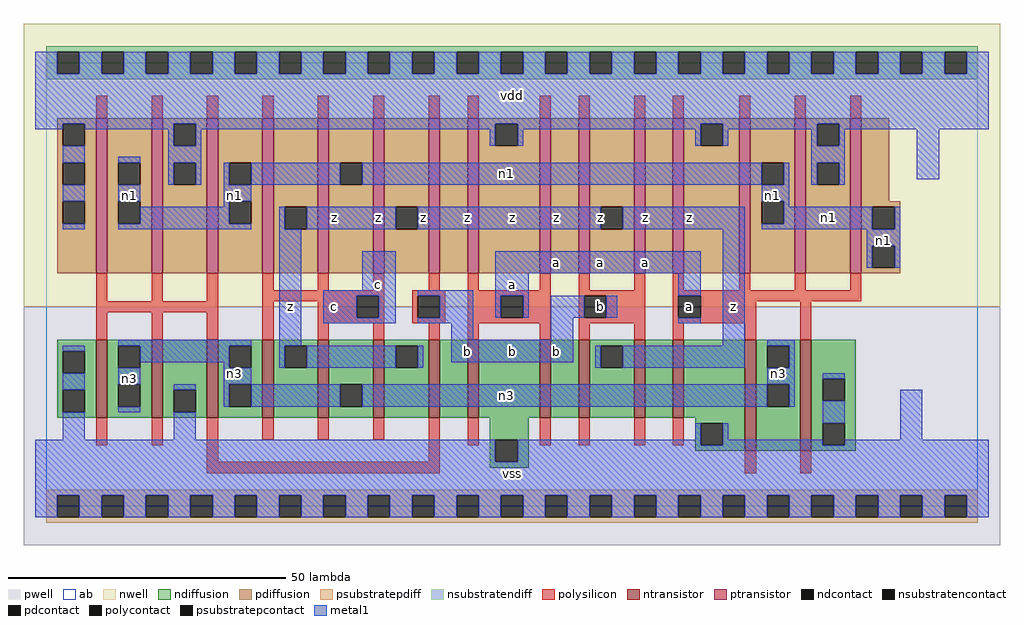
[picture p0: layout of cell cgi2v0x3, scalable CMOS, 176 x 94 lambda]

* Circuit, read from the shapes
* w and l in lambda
.subckt cgi2v0x3 a b c n1 n3 vdd vss z
M1 n3 b vss vss nfet w=14 l=2 m=3
M2 z c n3 vss nfet w=14 l=2 m=3
M3 n2 b z vss nfet w=14 l=2
M4 vss a n2 vss nfet w=14 l=2
M5 n4 a vss vss nfet w=14 l=2
M6 z b n4 vss nfet w=14 l=2
M7 n5 b z vss nfet w=14 l=2
M8 vss a n5 vss nfet w=14 l=2
M9 n3 a vss vss nfet w=20 l=2 m=2
M10 n1 b vdd vdd pfet w=28 l=2 m=3
M11 z c n1 vdd pfet w=28 l=2 m=3
M12 n6 b z vdd pfet w=28 l=2
M13 vdd a n6 vdd pfet w=28 l=2
M14 n7 a vdd vdd pfet w=28 l=2
M15 z b n7 vdd pfet w=28 l=2
M16 n8 b z vdd pfet w=28 l=2
M17 vdd a n8 vdd pfet w=28 l=2
M18 n1 a vdd vdd pfet w=28 l=2 m=3
.ends

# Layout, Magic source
magic
tech scmos
<< ab >>
rect 0 0 168 80
<< pwell >>
rect -4 -7 172 36
<< nwell >>
rect -4 36 172 87
<< polysilicon >>
rect 9 70 11 74
rect 19 70 21 74
rect 29 70 31 74
rect 39 70 41 74
rect 49 70 51 74
rect 59 70 61 74
rect 69 70 71 74
rect 76 70 78 74
rect 89 70 91 74
rect 96 70 98 74
rect 106 70 108 74
rect 113 70 115 74
rect 125 70 127 74
rect 135 70 137 74
rect 145 70 147 74
rect 9 37 11 42
rect 19 37 21 42
rect 29 37 31 42
rect 9 35 31 37
rect 9 30 11 35
rect 19 30 21 35
rect 29 30 31 35
rect 39 39 41 42
rect 49 39 51 42
rect 59 39 61 42
rect 69 39 71 42
rect 76 39 78 42
rect 89 39 91 42
rect 39 38 61 39
rect 39 37 56 38
rect 39 30 41 37
rect 49 34 56 37
rect 60 34 61 38
rect 49 33 61 34
rect 66 38 72 39
rect 66 34 67 38
rect 71 34 72 38
rect 66 33 72 34
rect 76 38 91 39
rect 76 34 82 38
rect 86 34 91 38
rect 76 33 91 34
rect 49 30 51 33
rect 59 30 61 33
rect 69 30 71 33
rect 76 30 78 33
rect 89 30 91 33
rect 96 39 98 42
rect 106 39 108 42
rect 96 38 108 39
rect 96 34 97 38
rect 101 34 108 38
rect 96 33 108 34
rect 96 30 98 33
rect 106 30 108 33
rect 113 39 115 42
rect 125 39 127 42
rect 135 39 137 42
rect 145 39 147 42
rect 113 38 147 39
rect 113 34 114 38
rect 118 37 147 38
rect 118 34 128 37
rect 113 33 128 34
rect 113 30 115 33
rect 126 30 128 33
rect 136 30 138 37
rect 9 11 11 16
rect 19 11 21 16
rect 29 8 31 16
rect 39 12 41 16
rect 49 12 51 16
rect 59 12 61 16
rect 69 8 71 16
rect 76 11 78 16
rect 29 6 71 8
rect 89 11 91 16
rect 96 11 98 16
rect 106 11 108 16
rect 113 11 115 16
rect 126 6 128 10
rect 136 6 138 10
<< ndiffusion >>
rect 2 28 9 30
rect 2 24 3 28
rect 7 24 9 28
rect 2 21 9 24
rect 2 17 3 21
rect 7 17 9 21
rect 2 16 9 17
rect 11 29 19 30
rect 11 25 13 29
rect 17 25 19 29
rect 11 22 19 25
rect 11 18 13 22
rect 17 18 19 22
rect 11 16 19 18
rect 21 21 29 30
rect 21 17 23 21
rect 27 17 29 21
rect 21 16 29 17
rect 31 29 39 30
rect 31 25 33 29
rect 37 25 39 29
rect 31 22 39 25
rect 31 18 33 22
rect 37 18 39 22
rect 31 16 39 18
rect 41 29 49 30
rect 41 25 43 29
rect 47 25 49 29
rect 41 16 49 25
rect 51 22 59 30
rect 51 18 53 22
rect 57 18 59 22
rect 51 16 59 18
rect 61 29 69 30
rect 61 25 63 29
rect 67 25 69 29
rect 61 16 69 25
rect 71 16 76 30
rect 78 16 89 30
rect 91 16 96 30
rect 98 29 106 30
rect 98 25 100 29
rect 104 25 106 29
rect 98 16 106 25
rect 108 16 113 30
rect 115 16 126 30
rect 80 12 87 16
rect 80 8 81 12
rect 85 8 87 12
rect 117 15 126 16
rect 117 11 118 15
rect 122 11 126 15
rect 117 10 126 11
rect 128 29 136 30
rect 128 25 130 29
rect 134 25 136 29
rect 128 22 136 25
rect 128 18 130 22
rect 134 18 136 22
rect 128 10 136 18
rect 138 23 146 30
rect 138 19 140 23
rect 144 19 146 23
rect 138 15 146 19
rect 138 11 140 15
rect 144 11 146 15
rect 138 10 146 11
rect 80 7 87 8
<< pdiffusion >>
rect 2 69 9 70
rect 2 65 3 69
rect 7 65 9 69
rect 2 62 9 65
rect 2 58 3 62
rect 7 58 9 62
rect 2 55 9 58
rect 2 51 3 55
rect 7 51 9 55
rect 2 42 9 51
rect 11 62 19 70
rect 11 58 13 62
rect 17 58 19 62
rect 11 55 19 58
rect 11 51 13 55
rect 17 51 19 55
rect 11 42 19 51
rect 21 69 29 70
rect 21 65 23 69
rect 27 65 29 69
rect 21 62 29 65
rect 21 58 23 62
rect 27 58 29 62
rect 21 42 29 58
rect 31 62 39 70
rect 31 58 33 62
rect 37 58 39 62
rect 31 55 39 58
rect 31 51 33 55
rect 37 51 39 55
rect 31 42 39 51
rect 41 54 49 70
rect 41 50 43 54
rect 47 50 49 54
rect 41 42 49 50
rect 51 62 59 70
rect 51 58 53 62
rect 57 58 59 62
rect 51 42 59 58
rect 61 54 69 70
rect 61 50 63 54
rect 67 50 69 54
rect 61 42 69 50
rect 71 42 76 70
rect 78 69 89 70
rect 78 65 81 69
rect 85 65 89 69
rect 78 42 89 65
rect 91 42 96 70
rect 98 54 106 70
rect 98 50 100 54
rect 104 50 106 54
rect 98 42 106 50
rect 108 42 113 70
rect 115 69 125 70
rect 115 65 118 69
rect 122 65 125 69
rect 115 42 125 65
rect 127 62 135 70
rect 127 58 129 62
rect 133 58 135 62
rect 127 55 135 58
rect 127 51 129 55
rect 133 51 135 55
rect 127 42 135 51
rect 137 69 145 70
rect 137 65 139 69
rect 143 65 145 69
rect 137 62 145 65
rect 137 58 139 62
rect 143 58 145 62
rect 137 42 145 58
rect 147 55 152 70
rect 147 54 154 55
rect 147 50 149 54
rect 153 50 154 54
rect 147 47 154 50
rect 147 43 149 47
rect 153 43 154 47
rect 147 42 154 43
<< metal1 >>
rect -2 78 2 82
rect 6 78 10 82
rect 14 78 18 82
rect 22 78 26 82
rect 30 78 34 82
rect 38 78 42 82
rect 46 78 50 82
rect 54 78 58 82
rect 62 78 66 82
rect 70 78 74 82
rect 78 78 82 82
rect 86 78 90 82
rect 94 78 98 82
rect 102 78 106 82
rect 110 78 114 82
rect 118 78 122 82
rect 126 78 130 82
rect 134 78 138 82
rect 142 78 146 82
rect 150 78 154 82
rect 158 78 162 82
rect 166 78 170 82
rect -2 69 170 78
rect -2 68 3 69
rect 7 68 23 69
rect 3 62 7 65
rect 22 65 23 68
rect 27 68 81 69
rect 27 65 28 68
rect 80 65 81 68
rect 85 68 118 69
rect 85 65 86 68
rect 117 65 118 68
rect 122 68 139 69
rect 122 65 123 68
rect 138 65 139 68
rect 143 68 170 69
rect 143 65 144 68
rect 3 55 7 58
rect 3 50 7 51
rect 13 62 17 63
rect 22 62 28 65
rect 138 62 144 65
rect 22 58 23 62
rect 27 58 28 62
rect 32 58 33 62
rect 37 58 53 62
rect 57 58 129 62
rect 133 58 134 62
rect 138 58 139 62
rect 143 58 144 62
rect 157 59 161 68
rect 13 55 17 58
rect 32 55 37 58
rect 32 54 33 55
rect 17 51 33 54
rect 129 55 134 58
rect 13 50 37 51
rect 42 50 43 54
rect 47 50 63 54
rect 67 50 100 54
rect 104 50 126 54
rect 133 54 134 55
rect 133 51 149 54
rect 129 50 149 51
rect 153 50 154 54
rect 13 29 37 30
rect 3 28 7 29
rect 3 21 7 24
rect 17 26 33 29
rect 13 22 17 25
rect 32 25 33 26
rect 42 29 46 50
rect 57 39 63 46
rect 81 42 118 46
rect 50 38 63 39
rect 50 34 56 38
rect 60 34 63 38
rect 50 33 63 34
rect 67 38 77 39
rect 71 34 77 38
rect 81 38 87 42
rect 114 38 118 42
rect 81 34 82 38
rect 86 34 87 38
rect 91 34 97 38
rect 101 34 103 38
rect 67 33 77 34
rect 73 30 77 33
rect 91 30 95 34
rect 114 33 118 34
rect 42 25 43 29
rect 47 25 63 29
rect 67 25 68 29
rect 73 26 95 30
rect 122 29 126 50
rect 148 47 154 50
rect 148 43 149 47
rect 153 43 154 47
rect 99 25 100 29
rect 104 25 126 29
rect 130 29 135 30
rect 134 25 135 29
rect 32 22 37 25
rect 130 22 135 25
rect 13 17 17 18
rect 23 21 27 22
rect 32 18 33 22
rect 37 18 53 22
rect 57 18 130 22
rect 134 18 135 22
rect 140 23 144 24
rect 3 12 7 17
rect 23 12 27 17
rect 140 15 144 19
rect 117 12 118 15
rect -2 8 81 12
rect 85 11 118 12
rect 122 12 123 15
rect 122 11 140 12
rect 154 12 158 21
rect 144 11 170 12
rect 85 8 170 11
rect -2 2 170 8
rect -2 -2 2 2
rect 6 -2 10 2
rect 14 -2 18 2
rect 22 -2 26 2
rect 30 -2 34 2
rect 38 -2 42 2
rect 46 -2 50 2
rect 54 -2 58 2
rect 62 -2 66 2
rect 70 -2 74 2
rect 78 -2 82 2
rect 86 -2 90 2
rect 94 -2 98 2
rect 102 -2 106 2
rect 110 -2 114 2
rect 118 -2 122 2
rect 126 -2 130 2
rect 134 -2 138 2
rect 142 -2 146 2
rect 150 -2 154 2
rect 158 -2 162 2
rect 166 -2 170 2
<< ntransistor >>
rect 9 16 11 30
rect 19 16 21 30
rect 29 16 31 30
rect 39 16 41 30
rect 49 16 51 30
rect 59 16 61 30
rect 69 16 71 30
rect 76 16 78 30
rect 89 16 91 30
rect 96 16 98 30
rect 106 16 108 30
rect 113 16 115 30
rect 126 10 128 30
rect 136 10 138 30
<< ptransistor >>
rect 9 42 11 70
rect 19 42 21 70
rect 29 42 31 70
rect 39 42 41 70
rect 49 42 51 70
rect 59 42 61 70
rect 69 42 71 70
rect 76 42 78 70
rect 89 42 91 70
rect 96 42 98 70
rect 106 42 108 70
rect 113 42 115 70
rect 125 42 127 70
rect 135 42 137 70
rect 145 42 147 70
<< polycontact >>
rect 56 34 60 38
rect 67 34 71 38
rect 82 34 86 38
rect 97 34 101 38
rect 114 34 118 38
<< ndcontact >>
rect 3 24 7 28
rect 3 17 7 21
rect 13 25 17 29
rect 13 18 17 22
rect 23 17 27 21
rect 33 25 37 29
rect 33 18 37 22
rect 43 25 47 29
rect 53 18 57 22
rect 63 25 67 29
rect 100 25 104 29
rect 81 8 85 12
rect 118 11 122 15
rect 130 25 134 29
rect 130 18 134 22
rect 140 19 144 23
rect 140 11 144 15
<< pdcontact >>
rect 3 65 7 69
rect 3 58 7 62
rect 3 51 7 55
rect 13 58 17 62
rect 13 51 17 55
rect 23 65 27 69
rect 23 58 27 62
rect 33 58 37 62
rect 33 51 37 55
rect 43 50 47 54
rect 53 58 57 62
rect 63 50 67 54
rect 81 65 85 69
rect 100 50 104 54
rect 118 65 122 69
rect 129 58 133 62
rect 129 51 133 55
rect 139 65 143 69
rect 139 58 143 62
rect 149 50 153 54
rect 149 43 153 47
<< psubstratepcontact >>
rect 2 -2 6 2
rect 10 -2 14 2
rect 18 -2 22 2
rect 26 -2 30 2
rect 34 -2 38 2
rect 42 -2 46 2
rect 50 -2 54 2
rect 58 -2 62 2
rect 66 -2 70 2
rect 74 -2 78 2
rect 82 -2 86 2
rect 90 -2 94 2
rect 98 -2 102 2
rect 106 -2 110 2
rect 114 -2 118 2
rect 122 -2 126 2
rect 130 -2 134 2
rect 138 -2 142 2
rect 146 -2 150 2
rect 154 -2 158 2
rect 162 -2 166 2
<< nsubstratencontact >>
rect 2 78 6 82
rect 10 78 14 82
rect 18 78 22 82
rect 26 78 30 82
rect 34 78 38 82
rect 42 78 46 82
rect 50 78 54 82
rect 58 78 62 82
rect 66 78 70 82
rect 74 78 78 82
rect 82 78 86 82
rect 90 78 94 82
rect 98 78 102 82
rect 106 78 110 82
rect 114 78 118 82
rect 122 78 126 82
rect 130 78 134 82
rect 138 78 142 82
rect 146 78 150 82
rect 154 78 158 82
rect 162 78 166 82
<< psubstratepdiff >>
rect 0 2 168 3
rect 0 -2 2 2
rect 6 -2 10 2
rect 14 -2 18 2
rect 22 -2 26 2
rect 30 -2 34 2
rect 38 -2 42 2
rect 46 -2 50 2
rect 54 -2 58 2
rect 62 -2 66 2
rect 70 -2 74 2
rect 78 -2 82 2
rect 86 -2 90 2
rect 94 -2 98 2
rect 102 -2 106 2
rect 110 -2 114 2
rect 118 -2 122 2
rect 126 -2 130 2
rect 134 -2 138 2
rect 142 -2 146 2
rect 150 -2 154 2
rect 158 -2 162 2
rect 166 -2 168 2
rect 0 -3 168 -2
<< nsubstratendiff >>
rect 0 82 168 83
rect 0 78 2 82
rect 6 78 10 82
rect 14 78 18 82
rect 22 78 26 82
rect 30 78 34 82
rect 38 78 42 82
rect 46 78 50 82
rect 54 78 58 82
rect 62 78 66 82
rect 70 78 74 82
rect 78 78 82 82
rect 86 78 90 82
rect 94 78 98 82
rect 102 78 106 82
rect 110 78 114 82
rect 118 78 122 82
rect 126 78 130 82
rect 134 78 138 82
rect 142 78 146 82
rect 150 78 154 82
rect 158 78 162 82
rect 166 78 168 82
rect 0 77 168 78
<< labels >>
rlabel metal1 15 23 15 23 6 n3
rlabel metal1 15 56 15 56 6 n1
rlabel metal1 34 24 34 24 6 n3
rlabel metal1 52 36 52 36 6 c
rlabel metal1 60 40 60 40 6 c
rlabel metal1 44 36 44 36 6 z
rlabel metal1 52 52 52 52 6 z
rlabel metal1 60 52 60 52 6 z
rlabel metal1 34 56 34 56 6 n1
rlabel metal1 84 6 84 6 6 vss
rlabel metal1 76 28 76 28 6 b
rlabel metal1 84 28 84 28 6 b
rlabel metal1 92 28 92 28 6 b
rlabel metal1 84 40 84 40 6 a
rlabel metal1 92 44 92 44 6 a
rlabel metal1 76 52 76 52 6 z
rlabel metal1 84 52 84 52 6 z
rlabel metal1 92 52 92 52 6 z
rlabel metal1 68 52 68 52 6 z
rlabel metal1 84 74 84 74 6 vdd
rlabel polycontact 100 36 100 36 6 b
rlabel metal1 100 44 100 44 6 a
rlabel metal1 108 44 108 44 6 a
rlabel polycontact 116 36 116 36 6 a
rlabel metal1 124 36 124 36 6 z
rlabel metal1 108 52 108 52 6 z
rlabel metal1 116 52 116 52 6 z
rlabel metal1 131 56 131 56 6 n1
rlabel metal1 100 52 100 52 6 z
rlabel metal1 83 60 83 60 6 n1
rlabel metal1 132 24 132 24 6 n3
rlabel metal1 83 20 83 20 6 n3
rlabel metal1 151 48 151 48 6 n1
rlabel metal1 141 52 141 52 6 n1
<< end >>
